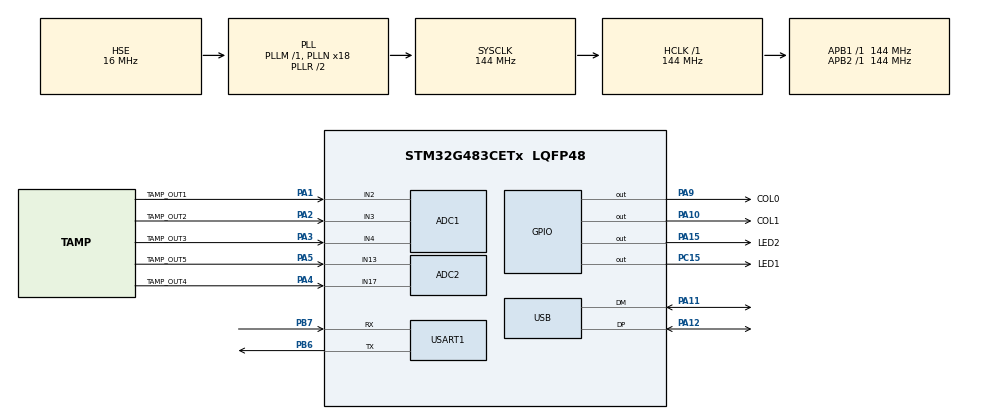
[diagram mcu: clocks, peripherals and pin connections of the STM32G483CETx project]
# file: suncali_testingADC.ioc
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ADC1.Channel-0\#ChannelRegularConversion=ADC_CHANNEL_2
ADC1.Channel-1\#ChannelRegularConversion=ADC_CHANNEL_3
ADC1.Channel-2\#ChannelRegularConversion=ADC_CHANNEL_4
ADC1.ClockPrescaler=ADC_CLOCK_ASYNC_DIV6
ADC1.ContinuousConvMode=ENABLE
ADC1.NbrOfConversion=3
ADC1.NbrOfConversionFlag=1
ADC1.OffsetNumber-0\#ChannelRegularConversion=ADC_OFFSET_NONE
ADC1.OffsetNumber-1\#ChannelRegularConversion=ADC_OFFSET_NONE
ADC1.OffsetNumber-2\#ChannelRegularConversion=ADC_OFFSET_NONE
ADC1.Rank-0\#ChannelRegularConversion=1
ADC1.Rank-1\#ChannelRegularConversion=2
ADC1.Rank-2\#ChannelRegularConversion=3
ADC1.SamplingTime-0\#ChannelRegularConversion=ADC_SAMPLETIME_47CYCLES_5
ADC1.SamplingTime-1\#ChannelRegularConversion=ADC_SAMPLETIME_47CYCLES_5
ADC1.SamplingTime-2\#ChannelRegularConversion=ADC_SAMPLETIME_47CYCLES_5
ADC1.master=1
ADC2.Channel-0\#ChannelRegularConversion=ADC_CHANNEL_17
ADC2.Channel-1\#ChannelRegularConversion=ADC_CHANNEL_13
ADC2.ClockPrescaler=ADC_CLOCK_ASYNC_DIV6
ADC2.NbrOfConversion=2
ADC2.NbrOfConversionFlag=1
ADC2.OffsetNumber-0\#ChannelRegularConversion=ADC_OFFSET_NONE
ADC2.OffsetNumber-1\#ChannelRegularConversion=ADC_OFFSET_NONE
ADC2.Rank-0\#ChannelRegularConversion=1
ADC2.Rank-1\#ChannelRegularConversion=2
ADC2.SamplingTime-0\#ChannelRegularConversion=ADC_SAMPLETIME_47CYCLES_5
ADC2.SamplingTime-1\#ChannelRegularConversion=ADC_SAMPLETIME_47CYCLES_5
Dma.ADC1.0.Direction=DMA_PERIPH_TO_MEMORY
Dma.ADC1.0.EventEnable=DISABLE
Dma.ADC1.0.Instance=DMA1_Channel1
Dma.ADC1.0.MemDataAlignment=DMA_MDATAALIGN_HALFWORD
Dma.ADC1.0.MemInc=DMA_MINC_ENABLE
Dma.ADC1.0.Mode=DMA_NORMAL
Dma.ADC1.0.PeriphDataAlignment=DMA_PDATAALIGN_HALFWORD
Dma.ADC1.0.PeriphInc=DMA_PINC_DISABLE
Dma.ADC1.0.Polarity=HAL_DMAMUX_REQ_GEN_RISING
Dma.ADC1.0.Priority=DMA_PRIORITY_LOW
Dma.ADC1.0.RequestNumber=1
Dma.ADC1.0.SignalID=NONE
Dma.ADC1.0.SyncEnable=DISABLE
Dma.ADC1.0.SyncPolarity=HAL_DMAMUX_SYNC_NO_EVENT
Dma.ADC1.0.SyncRequestNumber=1
Dma.ADC1.0.SyncSignalID=NONE
Dma.ADC2.1.Direction=DMA_PERIPH_TO_MEMORY
Dma.ADC2.1.EventEnable=DISABLE
Dma.ADC2.1.Instance=DMA1_Channel2
Dma.ADC2.1.MemDataAlignment=DMA_MDATAALIGN_HALFWORD
Dma.ADC2.1.MemInc=DMA_MINC_ENABLE
Dma.ADC2.1.Mode=DMA_NORMAL
Dma.ADC2.1.PeriphDataAlignment=DMA_PDATAALIGN_HALFWORD
Dma.ADC2.1.PeriphInc=DMA_PINC_DISABLE
Dma.ADC2.1.Polarity=HAL_DMAMUX_REQ_GEN_RISING
Dma.ADC2.1.Priority=DMA_PRIORITY_LOW
Dma.ADC2.1.RequestNumber=1
Dma.ADC2.1.SignalID=NONE
Dma.ADC2.1.SyncEnable=DISABLE
Dma.ADC2.1.SyncPolarity=HAL_DMAMUX_SYNC_NO_EVENT
Dma.ADC2.1.SyncRequestNumber=1
Dma.ADC2.1.SyncSignalID=NONE
Dma.Request0=ADC1
Dma.Request1=ADC2
Mcu.Family=STM32G4
Mcu.Name=STM32G483CETx
Mcu.Package=LQFP48
NVIC.DMA1_Channel1_IRQn=true\:0\:0\:false\:false\:true\:false\:true\:true
NVIC.DMA1_Channel2_IRQn=true\:0\:0\:false\:false\:true\:false\:true\:true
NVIC.PriorityGroup=NVIC_PRIORITYGROUP_4
NVIC.TIM1_BRK_TIM15_IRQn=true\:0\:0\:false\:false\:true\:true\:true\:true
NVIC.TIM1_CC_IRQn=true\:0\:0\:false\:false\:true\:true\:true\:true
NVIC.TIM1_TRG_COM_TIM17_IRQn=true\:0\:0\:false\:false\:true\:true\:true\:true
NVIC.TIM1_UP_TIM16_IRQn=true\:0\:0\:false\:false\:true\:true\:true\:true
NVIC.USB_LP_IRQn=true\:0\:0\:false\:false\:true\:false\:true\:true
PA1.GPIO_Label=TAMP_OUT1
PA1.Mode=IN2-Single-Ended
PA1.Signal=ADC1_IN2
PA10.GPIO_Label=COL1
PA10.Signal=GPIO_Output
PA11.Mode=Device
PA11.Signal=USB_DM
PA12.Mode=Device
PA12.Signal=USB_DP
PA13.Mode=Trace_Asynchronous_SW
PA13.Signal=SYS_JTMS-SWDIO
PA14.Mode=Trace_Asynchronous_SW
PA14.Signal=SYS_JTCK-SWCLK
PA15.GPIO_Label=LED2
PA15.PinState=GPIO_PIN_RESET
PA15.Signal=GPIO_Output
PA2.GPIO_Label=TAMP_OUT2
PA2.Mode=IN3-Single-Ended
PA2.Signal=ADC1_IN3
PA3.GPIO_Label=TAMP_OUT3
PA3.Mode=IN4-Single-Ended
PA3.Signal=ADC1_IN4
PA4.GPIO_Label=TAMP_OUT4
PA4.Mode=IN17-Single-Ended
PA4.Signal=ADC2_IN17
PA5.GPIO_Label=TAMP_OUT5
PA5.Mode=IN13-Single-Ended
PA5.Signal=ADC2_IN13
PA9.GPIO_Label=COL0
PA9.Signal=GPIO_Output
PB3.Mode=Trace_Asynchronous_SW
PB3.Signal=SYS_JTDO-SWO
PB6.GPIO_FM6=SYSCFG_FASTMODEPLUS_PB6
PB6.Mode=Asynchronous
PB6.Signal=USART1_TX
PB7.GPIO_FM7=SYSCFG_FASTMODEPLUS_PB7
PB7.Mode=Asynchronous
PB7.Signal=USART1_RX
PC15-OSC32_OUT.GPIO_Label=LED1
PC15-OSC32_OUT.Signal=GPIO_Output
PF0-OSC_IN.Mode=HSE-External-Oscillator
PF0-OSC_IN.Signal=RCC_OSC_IN
PF1-OSC_OUT.Mode=HSE-External-Oscillator
PF1-OSC_OUT.Signal=RCC_OSC_OUT
ProjectManager.HeapSize=0x200
ProjectManager.StackSize=0x400
ProjectManager.TargetToolchain=STM32CubeIDE
RCC.ADC12CLockSelection=RCC_ADC12CLKSOURCE_PLL
RCC.ADC12Freq_Value=144000000
RCC.ADC345Freq_Value=144000000
RCC.AHBFreq_Value=144000000
RCC.APB1Freq_Value=144000000
RCC.APB1TimFreq_Value=144000000
RCC.APB2Freq_Value=144000000
RCC.APB2TimFreq_Value=144000000
RCC.CortexFreq_Value=144000000
RCC.EXTERNAL_CLOCK_VALUE=12288000
RCC.HCLKFreq_Value=144000000
RCC.HSE_VALUE=16000000
RCC.HSI48_VALUE=48000000
RCC.HSI_VALUE=16000000
RCC.LSE_VALUE=32768
RCC.PLLN=18
RCC.PLLQ=RCC_PLLQ_DIV6
RCC.PLLSourceVirtual=RCC_PLLSOURCE_HSE
RCC.SYSCLKFreq_VALUE=144000000
RCC.SYSCLKSource=RCC_SYSCLKSOURCE_PLLCLK
RCC.USART1CLockSelection=RCC_USART1CLKSOURCE_SYSCLK
RCC.USBFreq_Value=48000000
RCC.VCOOutputFreq_Value=288000000
TIM1.AutoReloadPreload=TIM_AUTORELOAD_PRELOAD_ENABLE
TIM1.PeriodNoDither=1000-1
TIM1.Prescaler=14400-1
USART1.VirtualMode-Asynchronous=VM_ASYNC
USB_DEVICE.CLASS_NAME_FS=CDC
USB_DEVICE.VirtualMode=Cdc
USB_DEVICE.VirtualModeFS=Cdc_FS
VP_SYS_VS_DBSignals.Mode=DisableDeadBatterySignals
VP_TIM1_VS_ClockSourceINT.Mode=Internal
VP_USB_DEVICE_VS_USB_DEVICE_CDC_FS.Mode=CDC_FS
board=custom

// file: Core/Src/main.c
/* USER CODE BEGIN Header */
/**
  ******************************************************************************
  * @file           : main.c
  * @brief          : Main program body
  ******************************************************************************
  * @attention
  *
  * Copyright (c) 2024 STMicroelectronics.
  * All rights reserved.
  *
  * This software is licensed under terms that can be found in the LICENSE file
  * in the root directory of this software component.
  * If no LICENSE file comes with this software, it is provided AS-IS.
  *
  ******************************************************************************
  */
/* USER CODE END Header */
#include "main.h"
#include "usb_device.h"

/* USER CODE BEGIN Includes */
#include "string.h"
#include "stdio.h"
#include "usbd_cdc_if.h"

/* USER CODE END Includes */

ADC_HandleTypeDef hadc1;
ADC_HandleTypeDef hadc2;
DMA_HandleTypeDef hdma_adc1;
DMA_HandleTypeDef hdma_adc2;

TIM_HandleTypeDef htim1;

UART_HandleTypeDef huart1;

/* USER CODE BEGIN PV */

uint16_t adc_buffer[15];
uint16_t adc_buffer2[10];

volatile uint8_t flag = 0;
volatile uint8_t flag2 = 0;
uint8_t state = 0;

char uart_buffer[60];

uint16_t C0r1AVG = 0;
uint16_t C0r2AVG = 0;
uint16_t C0r3AVG = 0;
uint16_t C0r4AVG = 0;
uint16_t C0r5AVG = 0;

volatile uint8_t run_main_loop = 0; // 0 = stop, 1 = start
volatile uint8_t run_offset = 0;

/* USER CODE END PV */

void SystemClock_Config(void);
static void MX_GPIO_Init(void);
static void MX_DMA_Init(void);
static void MX_USART1_UART_Init(void);
static void MX_ADC1_Init(void);
static void MX_TIM1_Init(void);
static void MX_ADC2_Init(void);

int main(void)
{

  /* MCU Configuration--------------------------------------------------------*/

  /* Reset of all peripherals, Initializes the Flash interface and the Systick. */
  HAL_Init();

  /* Configure the system clock */
  SystemClock_Config();

  /* Initialize all configured peripherals */
  MX_GPIO_Init();
  MX_DMA_Init();
  MX_USART1_UART_Init();
  MX_ADC1_Init();
  MX_TIM1_Init();
  MX_ADC2_Init();
  MX_USB_Device_Init();
  /* USER CODE BEGIN 2 */

  // Calibrate ADC
  HAL_ADCEx_Calibration_Start(&hadc1, ADC_SINGLE_ENDED);
  HAL_ADCEx_Calibration_Start(&hadc2, ADC_SINGLE_ENDED);

  HAL_TIM_Base_Start_IT(&htim1);

  HAL_GPIO_WritePin(COL1_GPIO_Port, COL1_Pin, 0);
  HAL_GPIO_WritePin(COL0_GPIO_Port, COL0_Pin, 0);
  HAL_Delay(50);

  /* USER CODE END 2 */

  /* Infinite loop */
  /* USER CODE BEGIN WHILE */
  while (1) {

	  switch (state){
	  case 0:
		  if (run_main_loop == 1){
			  state = 1;
		  }

		  if(run_offset == 1 ){
			  HAL_GPIO_WritePin(COL0_GPIO_Port, COL0_Pin, 0);
			  HAL_GPIO_WritePin(COL1_GPIO_Port, COL1_Pin, 0);
			  HAL_Delay(2);
			  HAL_ADC_Start_DMA(&hadc1, (uint32_t *)adc_buffer, 3);
			  HAL_ADC_Start_DMA(&hadc2, (uint32_t *)adc_buffer2, 2);
			  state = 6;
		  }

		  break;

	  case 1:
		  HAL_GPIO_WritePin(COL0_GPIO_Port, COL0_Pin, 1);
		  HAL_GPIO_WritePin(LED2_GPIO_Port, LED2_Pin, 1);
		  HAL_Delay(2);
		  HAL_ADC_Start_DMA(&hadc1, (uint32_t *)adc_buffer, 15);
		  HAL_ADC_Start_DMA(&hadc2, (uint32_t *)adc_buffer2, 2);
		  state = 2;
		  break;

	  case 2:
		  if(flag == 1 && flag2 == 1){
			  C0r1AVG = (adc_buffer[0] + adc_buffer[3] + adc_buffer[6] + adc_buffer[9] + adc_buffer[12])/5;
			  C0r2AVG = (adc_buffer[1] + adc_buffer[4] + adc_buffer[7] + adc_buffer[10] + adc_buffer[13])/5;
			  C0r3AVG = (adc_buffer[2] + adc_buffer[5] + adc_buffer[8] + adc_buffer[11] + adc_buffer[14])/5;

			  snprintf(uart_buffer, sizeof(uart_buffer), "COL0: %u, %u, %u, %u, %u\r\n", C0r1AVG, C0r2AVG, C0r3AVG,adc_buffer2[0], adc_buffer2[1]);
			  CDC_Transmit_FS((uint8_t *)uart_buffer, strlen(uart_buffer));

			  flag = 0;
			  flag2 = 0;
			  HAL_GPIO_WritePin(COL0_GPIO_Port, COL0_Pin, 0);
			  HAL_GPIO_WritePin(LED2_GPIO_Port, LED2_Pin, 0);
			  HAL_Delay(2);
			  state = 3;
		  }

		  break;

	  case 3:
		  HAL_GPIO_WritePin(COL1_GPIO_Port, COL1_Pin, 1);
		  HAL_GPIO_WritePin(LED2_GPIO_Port, LED2_Pin, 1);
		  HAL_Delay(2);
		  HAL_ADC_Start_DMA(&hadc1, (uint32_t *)adc_buffer, 15);
		  HAL_ADC_Start_DMA(&hadc2, (uint32_t *)adc_buffer2, 2);
		  state = 4;
		  break;

	  case 4:
		  if(flag == 1 && flag2 == 1){
			  C0r1AVG = (adc_buffer[0] + adc_buffer[3] + adc_buffer[6] + adc_buffer[9] + adc_buffer[12])/5;
			  C0r2AVG = (adc_buffer[1] + adc_buffer[4] + adc_buffer[7] + adc_buffer[10] + adc_buffer[13])/5;
			  C0r3AVG = (adc_buffer[2] + adc_buffer[5] + adc_buffer[8] + adc_buffer[11] + adc_buffer[14])/5;

			  snprintf(uart_buffer, sizeof(uart_buffer), "COL1: %u, %u, %u, %u, %u\r\n", C0r1AVG, C0r2AVG, C0r3AVG,adc_buffer2[0], adc_buffer2[1]);
			  CDC_Transmit_FS((uint8_t *)uart_buffer, strlen(uart_buffer));

			  flag = 0;
			  flag2 = 0;
			  HAL_GPIO_WritePin(COL1_GPIO_Port, COL1_Pin, 0);
			  HAL_GPIO_WritePin(LED2_GPIO_Port, LED2_Pin, 0);
			  HAL_Delay(2);
			  state = 5;
		  }

		  break;

	  case 5:
		  if(run_main_loop == 0){
			  CDC_Transmit_FS((uint8_t*)"Main loop stopped\r\n", 19);
		  }
		  state = 0;
		  break;

	  case 6:
		  if(flag == 1 && flag2 == 1){

			  snprintf(uart_buffer, sizeof(uart_buffer), "Offsets: %u, %u, %u, %u, %u\r\n", adc_buffer[0], adc_buffer[1], adc_buffer[2], adc_buffer2[0], adc_buffer2[1]);
			  CDC_Transmit_FS((uint8_t *)uart_buffer, strlen(uart_buffer));

			  flag = 0;
			  flag2 = 0;
			  state = 0;
		  }

		  break;

	  default:
		  state = 0;

	  }

	  HAL_Delay(2);

  }

    /* USER CODE END WHILE */

}

void SystemClock_Config(void)
{
  RCC_OscInitTypeDef RCC_OscInitStruct = {0};
  RCC_ClkInitTypeDef RCC_ClkInitStruct = {0};

  /** Configure the main internal regulator output voltage
  */
  HAL_PWREx_ControlVoltageScaling(PWR_REGULATOR_VOLTAGE_SCALE1);

  /** Initializes the RCC Oscillators according to the specified parameters
  * in the RCC_OscInitTypeDef structure.
  */
  RCC_OscInitStruct.OscillatorType = RCC_OSCILLATORTYPE_HSE;
  RCC_OscInitStruct.HSEState = RCC_HSE_ON;
  RCC_OscInitStruct.PLL.PLLState = RCC_PLL_ON;
  RCC_OscInitStruct.PLL.PLLSource = RCC_PLLSOURCE_HSE;
  RCC_OscInitStruct.PLL.PLLM = RCC_PLLM_DIV1;
  RCC_OscInitStruct.PLL.PLLN = 18;
  RCC_OscInitStruct.PLL.PLLP = RCC_PLLP_DIV2;
  RCC_OscInitStruct.PLL.PLLQ = RCC_PLLQ_DIV6;
  RCC_OscInitStruct.PLL.PLLR = RCC_PLLR_DIV2;
  if (HAL_RCC_OscConfig(&RCC_OscInitStruct) != HAL_OK)
  {
    Error_Handler();
  }

  /** Initializes the CPU, AHB and APB buses clocks
  */
  RCC_ClkInitStruct.ClockType = RCC_CLOCKTYPE_HCLK|RCC_CLOCKTYPE_SYSCLK
                              |RCC_CLOCKTYPE_PCLK1|RCC_CLOCKTYPE_PCLK2;
  RCC_ClkInitStruct.SYSCLKSource = RCC_SYSCLKSOURCE_PLLCLK;
  RCC_ClkInitStruct.AHBCLKDivider = RCC_SYSCLK_DIV1;
  RCC_ClkInitStruct.APB1CLKDivider = RCC_HCLK_DIV1;
  RCC_ClkInitStruct.APB2CLKDivider = RCC_HCLK_DIV1;

  if (HAL_RCC_ClockConfig(&RCC_ClkInitStruct, FLASH_LATENCY_4) != HAL_OK)
  {
    Error_Handler();
  }
}

static void MX_ADC1_Init(void)
{

  ADC_MultiModeTypeDef multimode = {0};
  ADC_ChannelConfTypeDef sConfig = {0};

  /** Common config
  */
  hadc1.Instance = ADC1;
  hadc1.Init.ClockPrescaler = ADC_CLOCK_ASYNC_DIV6;
  hadc1.Init.Resolution = ADC_RESOLUTION_12B;
  hadc1.Init.DataAlign = ADC_DATAALIGN_RIGHT;
  hadc1.Init.GainCompensation = 0;
  hadc1.Init.ScanConvMode = ADC_SCAN_ENABLE;
  hadc1.Init.EOCSelection = ADC_EOC_SINGLE_CONV;
  hadc1.Init.LowPowerAutoWait = DISABLE;
  hadc1.Init.ContinuousConvMode = ENABLE;
  hadc1.Init.NbrOfConversion = 3;
  hadc1.Init.DiscontinuousConvMode = DISABLE;
  hadc1.Init.ExternalTrigConv = ADC_SOFTWARE_START;
  hadc1.Init.ExternalTrigConvEdge = ADC_EXTERNALTRIGCONVEDGE_NONE;
  hadc1.Init.DMAContinuousRequests = DISABLE;
  hadc1.Init.Overrun = ADC_OVR_DATA_PRESERVED;
  hadc1.Init.OversamplingMode = DISABLE;
  if (HAL_ADC_Init(&hadc1) != HAL_OK)
  {
    Error_Handler();
  }

  /** Configure the ADC multi-mode
  */
  multimode.Mode = ADC_MODE_INDEPENDENT;
  if (HAL_ADCEx_MultiModeConfigChannel(&hadc1, &multimode) != HAL_OK)
  {
    Error_Handler();
  }

  /** Configure Regular Channel
  */
  sConfig.Channel = ADC_CHANNEL_2;
  sConfig.Rank = ADC_REGULAR_RANK_1;
  sConfig.SamplingTime = ADC_SAMPLETIME_47CYCLES_5;
  sConfig.SingleDiff = ADC_SINGLE_ENDED;
  sConfig.OffsetNumber = ADC_OFFSET_NONE;
  sConfig.Offset = 0;
  if (HAL_ADC_ConfigChannel(&hadc1, &sConfig) != HAL_OK)
  {
    Error_Handler();
  }

  /** Configure Regular Channel
  */
  sConfig.Channel = ADC_CHANNEL_3;
  sConfig.Rank = ADC_REGULAR_RANK_2;
  if (HAL_ADC_ConfigChannel(&hadc1, &sConfig) != HAL_OK)
  {
    Error_Handler();
  }

  /** Configure Regular Channel
  */
  sConfig.Channel = ADC_CHANNEL_4;
  sConfig.Rank = ADC_REGULAR_RANK_3;
  if (HAL_ADC_ConfigChannel(&hadc1, &sConfig) != HAL_OK)
  {
    Error_Handler();
  }

}

static void MX_ADC2_Init(void)
{

  ADC_ChannelConfTypeDef sConfig = {0};

  /** Common config
  */
  hadc2.Instance = ADC2;
  hadc2.Init.ClockPrescaler = ADC_CLOCK_ASYNC_DIV6;
  hadc2.Init.Resolution = ADC_RESOLUTION_12B;
  hadc2.Init.DataAlign = ADC_DATAALIGN_RIGHT;
  hadc2.Init.GainCompensation = 0;
  hadc2.Init.ScanConvMode = ADC_SCAN_ENABLE;
  hadc2.Init.EOCSelection = ADC_EOC_SINGLE_CONV;
  hadc2.Init.LowPowerAutoWait = DISABLE;
  hadc2.Init.ContinuousConvMode = DISABLE;
  hadc2.Init.NbrOfConversion = 2;
  hadc2.Init.DiscontinuousConvMode = DISABLE;
  hadc2.Init.ExternalTrigConv = ADC_SOFTWARE_START;
  hadc2.Init.ExternalTrigConvEdge = ADC_EXTERNALTRIGCONVEDGE_NONE;
  hadc2.Init.DMAContinuousRequests = DISABLE;
  hadc2.Init.Overrun = ADC_OVR_DATA_PRESERVED;
  hadc2.Init.OversamplingMode = DISABLE;
  if (HAL_ADC_Init(&hadc2) != HAL_OK)
  {
    Error_Handler();
  }

  /** Configure Regular Channel
  */
  sConfig.Channel = ADC_CHANNEL_17;
  sConfig.Rank = ADC_REGULAR_RANK_1;
  sConfig.SamplingTime = ADC_SAMPLETIME_47CYCLES_5;
  sConfig.SingleDiff = ADC_SINGLE_ENDED;
  sConfig.OffsetNumber = ADC_OFFSET_NONE;
  sConfig.Offset = 0;
  if (HAL_ADC_ConfigChannel(&hadc2, &sConfig) != HAL_OK)
  {
    Error_Handler();
  }

  /** Configure Regular Channel
  */
  sConfig.Channel = ADC_CHANNEL_13;
  sConfig.Rank = ADC_REGULAR_RANK_2;
  if (HAL_ADC_ConfigChannel(&hadc2, &sConfig) != HAL_OK)
  {
    Error_Handler();
  }

}

static void MX_TIM1_Init(void)
{

  TIM_ClockConfigTypeDef sClockSourceConfig = {0};
  TIM_MasterConfigTypeDef sMasterConfig = {0};

  htim1.Instance = TIM1;
  htim1.Init.Prescaler = 14400-1;
  htim1.Init.CounterMode = TIM_COUNTERMODE_UP;
  htim1.Init.Period = 999;
  htim1.Init.ClockDivision = TIM_CLOCKDIVISION_DIV1;
  htim1.Init.RepetitionCounter = 0;
  htim1.Init.AutoReloadPreload = TIM_AUTORELOAD_PRELOAD_ENABLE;
  if (HAL_TIM_Base_Init(&htim1) != HAL_OK)
  {
    Error_Handler();
  }
  sClockSourceConfig.ClockSource = TIM_CLOCKSOURCE_INTERNAL;
  if (HAL_TIM_ConfigClockSource(&htim1, &sClockSourceConfig) != HAL_OK)
  {
    Error_Handler();
  }
  sMasterConfig.MasterOutputTrigger = TIM_TRGO_RESET;
  sMasterConfig.MasterOutputTrigger2 = TIM_TRGO2_RESET;
  sMasterConfig.MasterSlaveMode = TIM_MASTERSLAVEMODE_DISABLE;
  if (HAL_TIMEx_MasterConfigSynchronization(&htim1, &sMasterConfig) != HAL_OK)
  {
    Error_Handler();
  }

}

static void MX_USART1_UART_Init(void)
{

  huart1.Instance = USART1;
  huart1.Init.BaudRate = 115200;
  huart1.Init.WordLength = UART_WORDLENGTH_8B;
  huart1.Init.StopBits = UART_STOPBITS_1;
  huart1.Init.Parity = UART_PARITY_NONE;
  huart1.Init.Mode = UART_MODE_TX_RX;
  huart1.Init.HwFlowCtl = UART_HWCONTROL_NONE;
  huart1.Init.OverSampling = UART_OVERSAMPLING_16;
  huart1.Init.OneBitSampling = UART_ONE_BIT_SAMPLE_DISABLE;
  huart1.Init.ClockPrescaler = UART_PRESCALER_DIV1;
  huart1.AdvancedInit.AdvFeatureInit = UART_ADVFEATURE_NO_INIT;
  if (HAL_UART_Init(&huart1) != HAL_OK)
  {
    Error_Handler();
  }
  if (HAL_UARTEx_SetTxFifoThreshold(&huart1, UART_TXFIFO_THRESHOLD_1_8) != HAL_OK)
  {
    Error_Handler();
  }
  if (HAL_UARTEx_SetRxFifoThreshold(&huart1, UART_RXFIFO_THRESHOLD_1_8) != HAL_OK)
  {
    Error_Handler();
  }
  if (HAL_UARTEx_DisableFifoMode(&huart1) != HAL_OK)
  {
    Error_Handler();
  }

}

static void MX_DMA_Init(void)
{

  /* DMA controller clock enable */
  __HAL_RCC_DMAMUX1_CLK_ENABLE();
  __HAL_RCC_DMA1_CLK_ENABLE();

  /* DMA interrupt init */
  /* DMA1_Channel1_IRQn interrupt configuration */
  HAL_NVIC_SetPriority(DMA1_Channel1_IRQn, 0, 0);
  HAL_NVIC_EnableIRQ(DMA1_Channel1_IRQn);
  /* DMA1_Channel2_IRQn interrupt configuration */
  HAL_NVIC_SetPriority(DMA1_Channel2_IRQn, 0, 0);
  HAL_NVIC_EnableIRQ(DMA1_Channel2_IRQn);

}

static void MX_GPIO_Init(void)
{
  GPIO_InitTypeDef GPIO_InitStruct = {0};

  /* GPIO Ports Clock Enable */
  __HAL_RCC_GPIOC_CLK_ENABLE();
  __HAL_RCC_GPIOF_CLK_ENABLE();
  __HAL_RCC_GPIOA_CLK_ENABLE();
  __HAL_RCC_GPIOB_CLK_ENABLE();

  /*Configure GPIO pin Output Level */
  HAL_GPIO_WritePin(LED1_GPIO_Port, LED1_Pin, GPIO_PIN_RESET);

  /*Configure GPIO pin Output Level */
  HAL_GPIO_WritePin(GPIOA, COL0_Pin|COL1_Pin|LED2_Pin, GPIO_PIN_RESET);

  /*Configure GPIO pin : LED1_Pin */
  GPIO_InitStruct.Pin = LED1_Pin;
  GPIO_InitStruct.Mode = GPIO_MODE_OUTPUT_PP;
  GPIO_InitStruct.Pull = GPIO_NOPULL;
  GPIO_InitStruct.Speed = GPIO_SPEED_FREQ_LOW;
  HAL_GPIO_Init(LED1_GPIO_Port, &GPIO_InitStruct);

  /*Configure GPIO pins : COL0_Pin COL1_Pin LED2_Pin */
  GPIO_InitStruct.Pin = COL0_Pin|COL1_Pin|LED2_Pin;
  GPIO_InitStruct.Mode = GPIO_MODE_OUTPUT_PP;
  GPIO_InitStruct.Pull = GPIO_NOPULL;
  GPIO_InitStruct.Speed = GPIO_SPEED_FREQ_LOW;
  HAL_GPIO_Init(GPIOA, &GPIO_InitStruct);

}

/* USER CODE BEGIN 4 */

void HAL_TIM_PeriodElapsedCallback(TIM_HandleTypeDef* htim)
{
    if (htim->Instance == TIM1){
    	HAL_GPIO_TogglePin(LED1_GPIO_Port, LED1_Pin);
    }
}

void HAL_ADC_ConvCpltCallback(ADC_HandleTypeDef* hadc)
{
    if (hadc->Instance == ADC1){
    	flag = 1;
    }

    if (hadc->Instance == ADC2){
		flag2 = 1;
	}
}

/* USER CODE END 4 */

void Error_Handler(void)
{
  __disable_irq();
  while (1)
  {
  }
}
